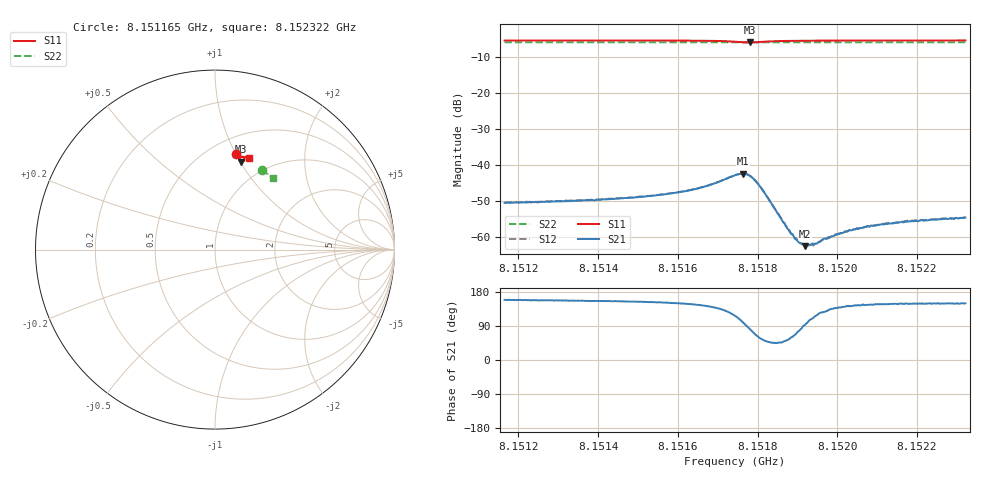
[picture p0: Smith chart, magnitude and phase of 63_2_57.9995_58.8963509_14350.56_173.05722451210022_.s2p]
#  HZ  S  RI  R  50.00
! Rohde & Schwarz Vector Network Analyzer
! Rohde-Schwarz,ZNB20-2Port,1311601062101988,3.16
! Created: UTC 3/21/2024, 12:53:04 AM
! freq[Hz]  re:S11  im:S11  re:S21  im:S21  re:S12  im:S12  re:S22  im:S22
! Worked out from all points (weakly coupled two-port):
!   401 points, 8.151165 GHz to 8.152322 GHz, reference 50 ohm
!   highest |S21| = -42.39 dB at 8.151764 GHz (marker M1); lowest = -62.6 dB at 8.15192 GHz (marker M2)
!   lowest |S11| = -5.8 dB at 8.151781 GHz (marker M3), VSWR 3.09, Z = 38.1 + j50.5 ohm
!   |S11| at or under -10 dB: nowhere
!   |S22| runs from -5.8 to -5.8 dB; largest |S21 - S12| = 0.00015
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8.1511651e9  0.1164 0.5307  -0.00277 0.00107  -0.00279 0.00113  0.262 0.4423
8.1513589e9  0.1308 0.5274  -0.00293 0.00127  -0.00296 0.00134  0.2725 0.4357
8.1514861e9  0.1408 0.5246  -0.00316 0.00154  -0.00318 0.00159  0.2794 0.431
8.1515526e9  0.1466 0.5227  -0.0034 0.0018  -0.00336 0.00188  0.2832 0.4285
8.151651e9  0.1567 0.5174  -0.00389 0.00267  -0.00391 0.00276  0.2883 0.4246
8.1516886e9  0.1613 0.513  -0.00413 0.00356  -0.00412 0.00362  0.2904 0.4231
8.1517435e9  0.1635 0.4974  -0.00324 0.00647  -0.00317 0.00655  0.293 0.4205
8.1517637e9  0.1561 0.4898  -0.0012 0.0075  -0.00114 0.00755  0.2937 0.4198
8.1517811e9  0.1455 0.4896  0.00114 0.00697  0.00121 0.00699  0.2939 0.4192
8.1517956e9  0.139 0.4953  0.00236 0.00546  0.00246 0.00551  0.2945 0.4192
8.1518129e9  0.137 0.5038  0.00265 0.00358  0.00274 0.0036  0.2954 0.4188
8.1518679e9  0.1462 0.5163  0.00098 0.00116  0.00102 0.00119  0.2988 0.417
8.1518881e9  0.1498 0.5175  0.000522 0.000959  0.000527 0.000938  0.3002 0.4162
8.1518997e9  0.1515 0.5178  0.000258 0.000851  0.000308 0.000844  0.3006 0.4159
8.1519112e9  0.1533 0.5182  8.9e-05 0.000802  8.35e-05 0.000786  0.3011 0.4153
8.1519199e9  0.1544 0.5181  -4.63e-05 0.000741  -7.15e-05 0.000783  0.3017 0.415
8.1519373e9  0.1565 0.5183  -0.000264 0.000762  -0.000236 0.000747  0.3026 0.4142
8.1520182e9  0.165 0.5175  -0.0009 0.000746  -0.000903 0.000767  0.3069 0.4112
8.1520789e9  0.1702 0.5163  -0.00116 0.000784  -0.00116 0.000806  0.3101 0.4086
8.152131e9  0.1745 0.5152  -0.0013 0.000834  -0.00132 0.000854  0.3126 0.4066
8.1521773e9  0.1782 0.5142  -0.00141 0.000867  -0.00144 0.000905  0.3149 0.4048
8.1523219e9  0.1886 0.5111  -0.0016 0.000939  -0.0016 0.000953  0.3222 0.3988
